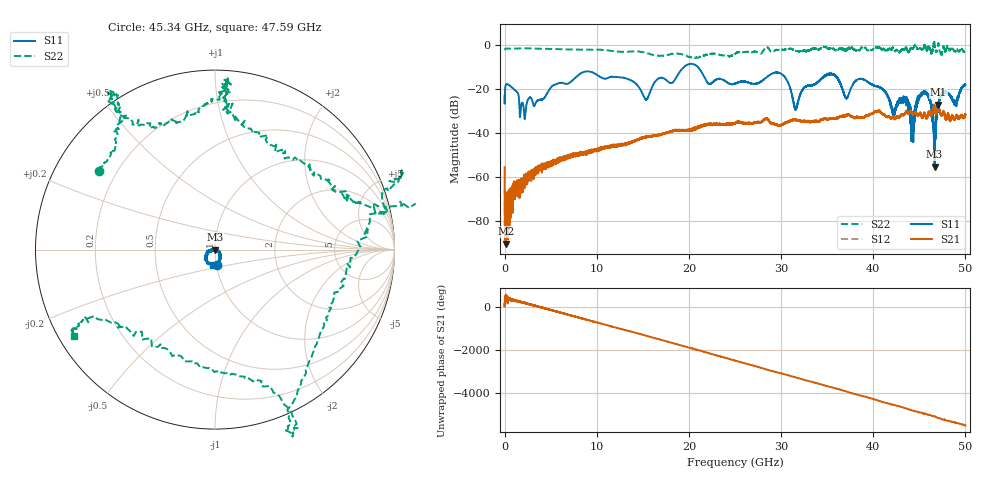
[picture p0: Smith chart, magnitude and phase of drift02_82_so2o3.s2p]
!Created with skrf (http://scikit-rf.org).
# Hz S RI R 50.0
!freq ReS11 ImS11 ReS21 ImS21 ReS12 ImS12 ReS22 ImS22
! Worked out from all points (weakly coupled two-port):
!   10001 points, 300 kHz to 50 GHz, reference 50 ohm
!   highest |S21| = -26.88 dB at 47.08 GHz (marker M1); lowest = -90.0 dB at 130.3 MHz (marker M2)
!   lowest |S11| = -55.1 dB at 46.66 GHz (marker M3), VSWR 1.00, Z = 49.8 + j0.0421 ohm
!   |S11| at or under -10 dB: start of sweep to 19.43 GHz; 21.01 GHz to end of sweep
!   |S22| runs from -5.7 to 2.2 dB; largest |S21 - S12| = 0.003
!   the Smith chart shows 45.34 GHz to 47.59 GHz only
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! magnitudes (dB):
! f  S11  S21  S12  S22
! 300 kHz  -22.7  -55.4  -65.0  -2.1
! 130.3 MHz  -17.9  -90.0  -74.5  -1.5
! 2.185 GHz  -33.5  -63.4  -62.1  -1.3
! 8.335 GHz  -12.5  -49.7  -49.0  -1.9
! 13.49 GHz  -15.4  -44.5  -44.2  -2.8
! 15.34 GHz  -24.6  -41.8  -41.6  -3.3
! 16.67 GHz  -15.1  -40.8  -40.8  -4.7
! 20.3 GHz  -8.4  -38.2  -38.3  -5.5
! 25 GHz  -17.4  -35.2  -35.3  -3.9
! 29.83 GHz  -12.5  -36.4  -36.4  -2.0
! 31.59 GHz  -28.8  -33.6  -34.0  -2.4
! 33.34 GHz  -18.1  -34.3  -34.5  -1.5
! 35.61 GHz  -13.1  -33.0  -33.1  -1.5
! 37.1 GHz  -24.1  -31.7  -31.6  -2.2
! 38.76 GHz  -15.3  -32.7  -32.6  -1.0
! 41.67 GHz  -23.9  -32.2  -32.2  -1.9
! 43.52 GHz  -24.4  -30.2  -30.5  -1.2
! 44.25 GHz  -36.3  -30.9  -31.1  -1.4
! 45.72 GHz  -21.2  -32.9  -32.8  -1.1
! 46.66 GHz  -55.1  -28.2  -28.3  0.9
! 47.08 GHz  -26.1  -26.9  -27.0  0.9
! 50 GHz  -17.9  -31.6  -31.4  -2.6
